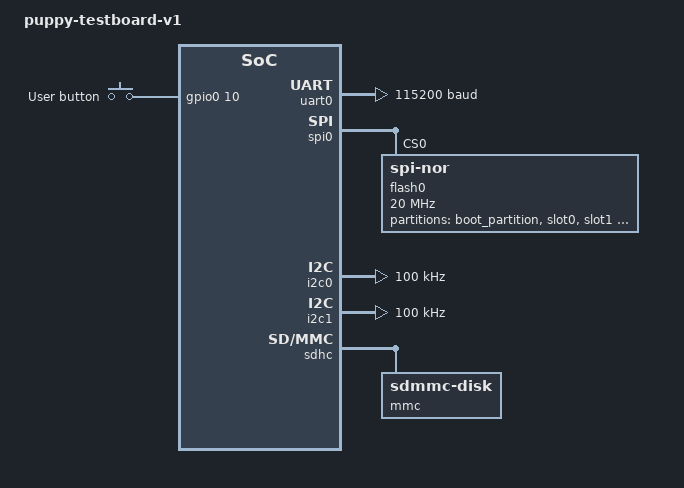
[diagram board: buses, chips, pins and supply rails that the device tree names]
#include <caninos/puppy_v1.dtsi>
#include <mem.h>

/ {
	model = "puppy-testboard-v1";
	compatible = "caninos,puppy-testboard-v1";

	chosen {
		mcuboot,ram-load-dev = &sram;
		zephyr,code-partition = &slot0_partition;
		zephyr,flash-controller = &spi0;
		zephyr,sram = &sram;
		zephyr,flash = &flash0;
		zephyr,console = &uart0;
		zephyr,shell-uart = &uart0;
	};

	aliases {
		mcuboot-button0 = &button0;
		eeprom-0 = &flash0;
	};

	buttons {
		compatible = "gpio-keys";

		button0: button_0 {
			gpios = < &gpio0 10 GPIO_ACTIVE_HIGH>;
			label = "User button";
		};
	};
};

&gpio0 {
	status = "okay";
};

&uart0 {
	status = "okay";
	current-speed = <115200>;
	parity = "none";
};

&spi0 {
	status = "okay";

	flash0: flash@0 {
		compatible = "jedec,spi-nor";
		status = "okay";
		size = <DT_SIZE_M(8)>;
		reg = <0>;
		spi-max-frequency = <20000000>;
		erase-block-size = <DT_SIZE_K(4)>;
		write-block-size = <256>;

		partitions {
			compatible = "fixed-partitions";
			#size-cells = <1>;
			#address-cells = <1>;

			boot_partition: partition@0 {
				reg = <0x0 0x20000>;
				label = "boot_partition";
				read-only;
			};

			slot0_partition: partition@20000 { 
				reg = <0x20000 0x40000>;
				label = "slot0";
			};

			slot1_partition: partition@60000 {
				reg = <0x60000 0x40000>;
				label = "slot1";
			};

			storage_partition: partition@A0000 {
				reg = <0xA0000 0x20000>;
				label = "storage";
			};
		};
	};
};

&i2c0 {
	status = "okay";
	clock-frequency = <100000>;
};

&i2c1 {
	status = "okay";
	clock-frequency = <100000>;
};

&sdhc {
	mmc {
		compatible = "zephyr,sdmmc-disk";
		disk-name = "SD";
		status = "okay";
	};
};
